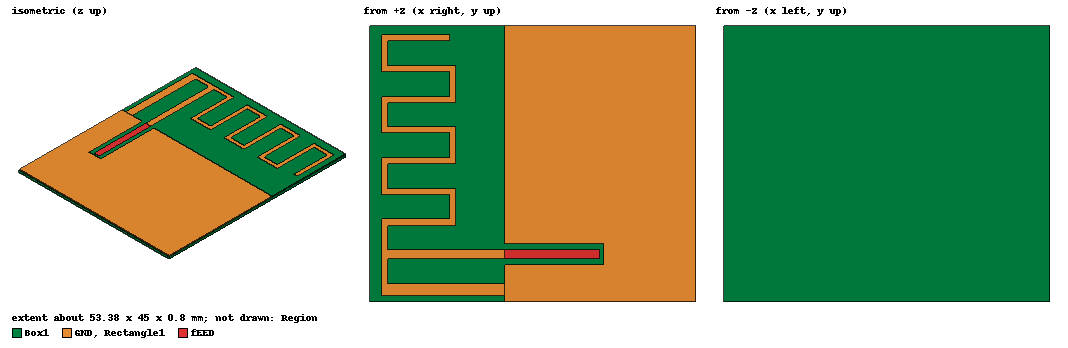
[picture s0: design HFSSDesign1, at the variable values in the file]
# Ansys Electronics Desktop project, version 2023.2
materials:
  vacuum: permittivity=1
  FR4_epoxy: permittivity=4.4 dielectric_loss_tangent=0.02
  air: permittivity=1.0006 permeability=1.0000004

design HFSSDesign1 (HFSS, HFSS Terminal Network, model units mm)
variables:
  l1 = 20mm
  w2 = 1.4792mm
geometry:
  Rectangle1 = rectangle(corner=(0mm, 0mm, 0mm), x_size=l1, y_size=1.48mm)
  Rectangle2 = rectangle(corner=(0mm, -6mm, 0mm), x_size=1mm, y_size=6mm)
  Rectangle3 = rectangle(corner=(1mm, -6mm, 0mm), x_size=19mm, y_size=2mm)
  Rectangle4 = rectangle(corner=(0mm, 1.4792mm, 0mm), x_size=1mm, y_size=5mm)
  Rectangle5 = rectangle(corner=(1mm, 5.5mm, 0mm), x_size=10mm, y_size=1mm)
  Rectangle5.move(0mm, -0.0208mm, 0mm)
  Rectangle6 = rectangle(corner=(11mm, 5.4792mm, 0mm), x_size=1mm, y_size=6mm)
  Rectangle7 = rectangle(corner=(1mm, 5.5mm, 0mm), x_size=10mm, y_size=1mm)
  Rectangle7.move(0mm, -0.0208mm, 0mm)
  Rectangle7.move(0mm, 5mm, 0mm)
  Rectangle8 = rectangle(corner=(0mm, 1.4792mm, 0mm), x_size=1mm, y_size=5mm)
  Rectangle9 = rectangle(corner=(1mm, 5.5mm, 0mm), x_size=10mm, y_size=1mm)
  Rectangle9.move(0mm, -0.0208mm, 0mm)
  Rectangle10 = rectangle(corner=(11mm, 5.4792mm, 0mm), x_size=1mm, y_size=6mm)
  [Rectangle8, Rectangle9, Rectangle10].move(0mm, 10mm, 0mm)
  Rectangle12 = rectangle(corner=(1mm, 10.4792mm, 0mm), x_size=-1mm, y_size=1mm)
  Rectangle7.unite(Rectangle12)
  Rectangle13 = rectangle(corner=(1mm, 5.5mm, 0mm), x_size=10mm, y_size=1mm)
  Rectangle13.move(0mm, -0.0208mm, 0mm)
  Rectangle13.move(0mm, 5mm, 0mm)
  Rectangle14 = rectangle(corner=(1mm, 10.4792mm, 0mm), x_size=-1mm, y_size=1mm)
  Rectangle13.unite(Rectangle14)
  Rectangle13.move(0mm, 10mm, 0mm)
  Rectangle15 = rectangle(corner=(0mm, 1.4792mm, 0mm), x_size=1mm, y_size=5mm)
  Rectangle15.move(0mm, 10mm, 0mm)
  Rectangle16 = rectangle(corner=(1mm, 5.5mm, 0mm), x_size=10mm, y_size=1mm)
  Rectangle16.move(0mm, -0.0208mm, 0mm)
  Rectangle16.move(0mm, 10mm, 0mm)
  Rectangle17 = rectangle(corner=(11mm, 5.4792mm, 0mm), x_size=1mm, y_size=6mm)
  Rectangle17.move(0mm, 10mm, 0mm)
  Rectangle18 = rectangle(corner=(1mm, 5.5mm, 0mm), x_size=10mm, y_size=1mm)
  Rectangle18.move(0mm, -0.0208mm, 0mm)
  Rectangle18.move(0mm, 5mm, 0mm)
  Rectangle19 = rectangle(corner=(1mm, 10.4792mm, 0mm), x_size=-1mm, y_size=1mm)
  Rectangle18.unite(Rectangle19)
  Rectangle18.move(0mm, 10mm, 0mm)
  [Rectangle15..Rectangle18].move(0mm, 10mm, 0mm)
  Rectangle20 = rectangle(corner=(0mm, 1.4792mm, 0mm), x_size=1mm, y_size=5mm)
  Rectangle20.move(0mm, 10mm, 0mm)
  Rectangle20.move(0mm, 10mm, 0mm)
  Rectangle21 = rectangle(corner=(1mm, 5.5mm, 0mm), x_size=10mm, y_size=1mm)
  Rectangle21.move(0mm, -0.0208mm, 0mm)
  Rectangle21.move(0mm, 10mm, 0mm)
  Rectangle21.move(0mm, 10mm, 0mm)
  [Rectangle20, Rectangle21].move(0mm, 10mm, 0mm)
  Rectangle4.unite(Rectangle5..Rectangle10, Rectangle13, Rectangle15..Rectangle18, Rectangle20)
  GND = rectangle(corner=(20mm, -7mm, 0mm), x_size=45mm, y_size=45mm)
  Rectangle23 = rectangle(corner=(20mm, -1mm, 0mm), x_size=16mm, y_size=3.5mm)
  GND.subtract(Rectangle23)
  fEED = rectangle(corner=(20mm, 0mm, 0mm), x_size=15.4661mm, y_size=1.5294875mm)
  Rectangle1.unite(Rectangle2, Rectangle3, Rectangle4)
  Rectangle1.unite(Rectangle21)
  Box1 [FR4_epoxy] = box(corner=(51mm, -7mm, 0mm), size=(-53mm, 45mm, -0.8mm))
  Region [vacuum] = region(absolute_offset=10mm on all sides)
  Box2 = box(corner=(51mm, 38mm, 0mm), size=(14mm, -45mm, -0.8mm))
  Box1.unite(Box2)
  Box3 = box(corner=(65mm, -7mm, 0mm), size=(-29mm, 45mm, -0.8mm))
  Box1.subtract(Box3)
  Rectangle24 = rectangle(corner=(65mm, -7mm, 0mm), x_size=-29mm, y_size=45mm)
  GND.subtract(Rectangle24)
  Rectangle25 = rectangle(corner=(36mm, -7mm, 0mm), x_size=15mm, y_size=45mm)
  GND.unite(Rectangle25)
  Box4 = box(corner=(36mm, -7mm, 0mm), size=(15mm, 45mm, -0.8mm))
  Box1.unite(Box4)
  Rectangle26 = rectangle(corner=(36mm, -7mm, 0mm), x_size=15mm, y_size=45mm)
  GND.unite(Rectangle26)
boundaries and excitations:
  PerfE1: Perfect E Objects=[GND, Rectangle1]
  Rad1: Radiation Objects=Region
  1: Lumped Port Objects=fEED LumpedPortType=Modal Modes{Mode1{IntLine{(35.4661, 0.76474375, 0) -> (20, 0.76474375, 0)} CharImp=Zpi RenormImp=50ohm}} Impedance=50ohm
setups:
  Setup1: HfssDriven Frequency=1GHz MaxDeltaS=0.02 MaximumPasses=6 MinimumPasses=1 MinimumConvergedPasses=1 PercentRefinement=30 BasisOrder=1 PortAccuracy=2 DrivenSolverType="Direct Solver"
    sweep Sweep: 0.5GHz to 10GHz, 401 points; Type=Interpolating SaveFields SaveRadFields InterpTolerance=0.5 InterpMaxSolns=250 PassivityErrorTolerance=0.0001
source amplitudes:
  1:1: 1V 0deg
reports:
  Terminal S Parameter Plot 1: dB(St(1,1)) vs Freq on Setup1 : Sweep; markers m1 at 1.2125GHz
